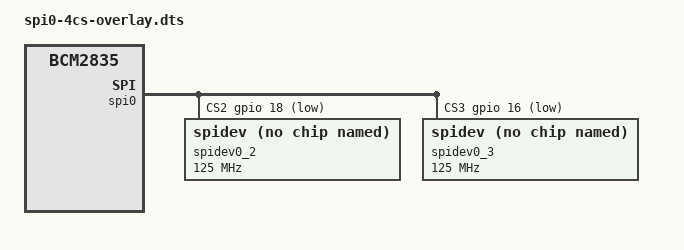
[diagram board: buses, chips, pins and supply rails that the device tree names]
/dts-v1/;
/plugin/;


/ {
	compatible = "brcm,bcm2835";

	fragment@0 {
		target = <&spi0_cs_pins>;
		frag0: __overlay__ {
			brcm,pins = <7 12 18 16>;
		};
	};

	fragment@1 {
		target = <&spi0>;
		frag1: __overlay__ {
			#address-cells = <1>;
			#size-cells = <0>;

			cs-gpios = <&gpio 7 1>, <&gpio 12 1>, <&gpio 18 1>, <&gpio 16 1>;
			status = "okay";

			spidev0_2: spidev@2 {
				compatible = "spidev";
				reg = <2>;
				#address-cells = <1>;
				#size-cells = <0>;
				spi-max-frequency = <125000000>;
				status = "okay";
			};

			spidev0_3: spidev@3 {
				compatible = "spidev";
				reg = <3>;
				#address-cells = <1>;
				#size-cells = <0>;
				spi-max-frequency = <125000000>;
				status = "okay";
			};
		};
	};

	__overrides__ {
		cs0_pin  = <&frag0>,"brcm,pins:0",
			   <&frag1>,"cs-gpios:4";
		cs1_pin  = <&frag0>,"brcm,pins:4",
			   <&frag1>,"cs-gpios:16";
		cs2_pin  = <&frag0>,"brcm,pins:8",
			   <&frag1>,"cs-gpios:28";
		cs3_pin  = <&frag0>,"brcm,pins:12",
			   <&frag1>,"cs-gpios:40";
	};
};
